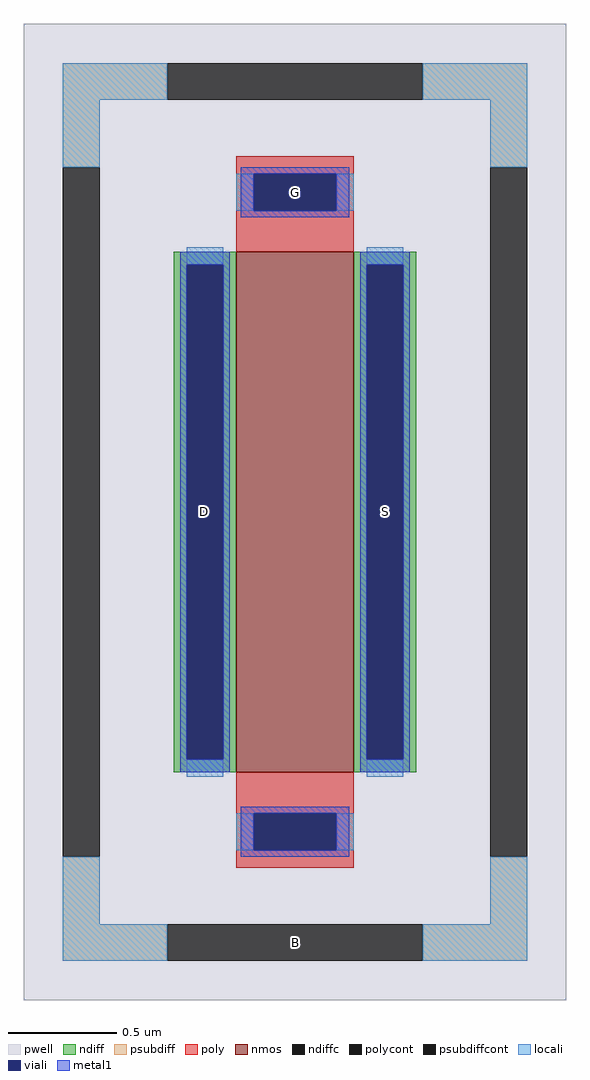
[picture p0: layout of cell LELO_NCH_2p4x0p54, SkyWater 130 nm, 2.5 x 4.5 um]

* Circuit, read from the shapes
.subckt LELO_NCH_2p4x0p54 D G S B
XM1 S G D B sky130_fd_pr__nfet_01v8 w=2.4 l=0.54
.ends

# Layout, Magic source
magic
tech sky130A
magscale 1 2
<< pwell >>
rect -250 -450 250 450
<< nmos >>
rect -54 -240 54 240
<< ndiff >>
rect -112 228 -54 240
rect -112 -228 -100 228
rect -66 -228 -54 228
rect -112 -240 -54 -228
rect 54 228 112 240
rect 54 -228 66 228
rect 100 -228 112 228
rect 54 -240 112 -228
<< ndiffc >>
rect -100 -228 -66 228
rect 66 -228 100 228
<< psubdiff >>
rect -214 380 -118 414
rect 118 380 214 414
rect -214 318 -180 380
rect 180 318 214 380
rect -214 -380 -180 -318
rect 180 -380 214 -318
rect -214 -414 -118 -380
rect 118 -414 214 -380
<< psubdiffcont >>
rect -118 380 118 414
rect -214 -318 -180 318
rect 180 -318 214 318
rect -118 -414 118 -380
<< poly >>
rect -54 312 54 328
rect -54 278 -38 312
rect 38 278 54 312
rect -54 240 54 278
rect -54 -278 54 -240
rect -54 -312 -38 -278
rect 38 -312 54 -278
rect -54 -328 54 -312
<< polycont >>
rect -38 278 38 312
rect -38 -312 38 -278
<< locali >>
rect -214 380 -118 414
rect 118 380 214 414
rect -214 318 -180 380
rect 180 318 214 380
rect -54 278 -38 312
rect 38 278 54 312
rect -100 228 -66 244
rect -100 -244 -66 -228
rect 66 228 100 244
rect 66 -244 100 -228
rect -54 -312 -38 -278
rect 38 -312 54 -278
rect -214 -380 -180 -318
rect 180 -380 214 -318
rect -214 -414 -118 -380
rect 118 -414 214 -380
<< viali >>
rect -38 278 38 312
rect -100 -228 -66 228
rect 66 -228 100 228
rect -38 -312 38 -278
<< metal1 >>
rect -50 312 50 318
rect -50 278 -38 312
rect 38 278 50 312
rect -50 272 50 278
rect -106 228 -60 240
rect -106 -228 -100 228
rect -66 -228 -60 228
rect -106 -240 -60 -228
rect 60 228 106 240
rect 60 -228 66 228
rect 100 -228 106 228
rect 60 -240 106 -228
rect -50 -278 50 -272
rect -50 -312 -38 -278
rect 38 -312 50 -278
rect -50 -318 50 -312
<< labels >>
flabel locali s -4 -401 4 -393 0 FreeSans 200 0 0 0 B
port 4 nsew
flabel metal1 s -87 -4 -79 4 0 FreeSans 200 0 0 0 D
port 1 nsew
flabel metal1 s 79 -4 87 4 0 FreeSans 200 0 0 0 S
port 3 nsew
flabel metal1 s -4 291 4 299 0 FreeSans 200 0 0 0 G
port 2 nsew
<< properties >>
string FIXED_BBOX -197 -397 197 397
<< end >>
